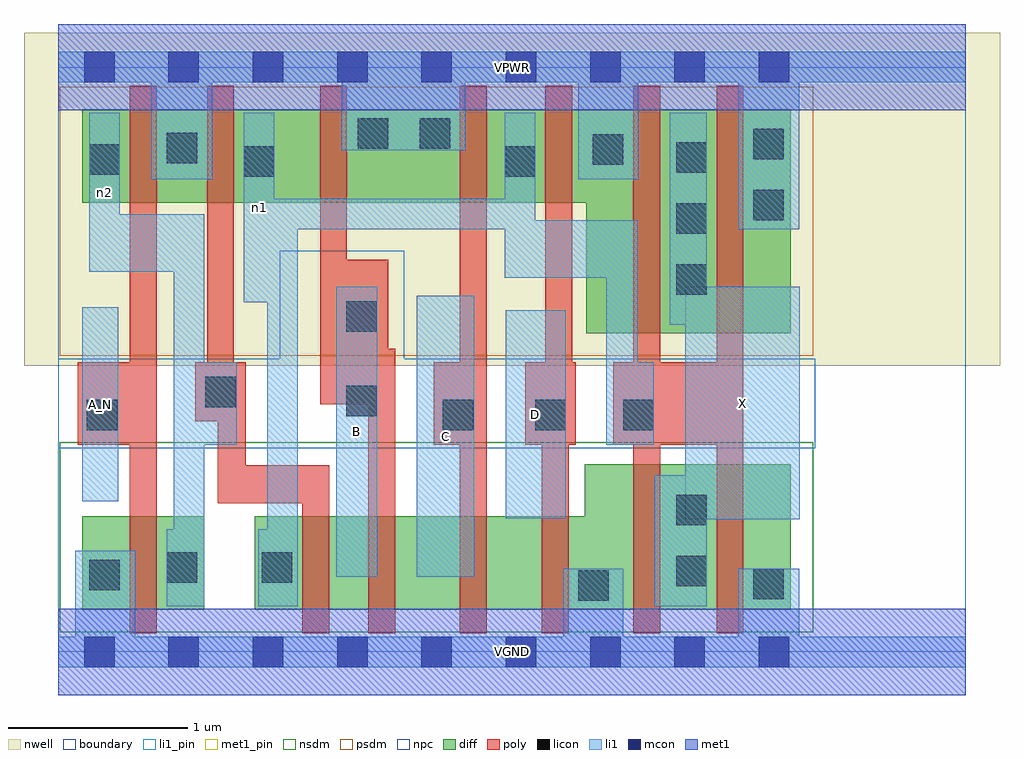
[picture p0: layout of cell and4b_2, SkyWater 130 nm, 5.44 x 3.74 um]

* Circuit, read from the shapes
.subckt and4b_2 A_N B C D VGND VPWR X n1 n2
XM1 n2 A_N VGND VSUBS sky130_fd_pr__nfet_01v8 w=0.52 l=0.15
XM2 n3 n2 n1 VSUBS sky130_fd_pr__nfet_01v8 w=0.52 l=0.15
XM3 n4 B n3 VSUBS sky130_fd_pr__nfet_01v8 w=0.52 l=0.15
XM4 n5 C n4 VSUBS sky130_fd_pr__nfet_01v8 w=0.52 l=0.15
XM5 VGND D n5 VSUBS sky130_fd_pr__nfet_01v8 w=0.52 l=0.15
XM6 X n1 VGND VSUBS sky130_fd_pr__nfet_01v8 w=0.81 l=0.15 m=2
XM7 VPWR A_N n2 n6 sky130_fd_pr__pfet_01v8 w=0.52 l=0.15
XM8 n1 n2 VPWR n6 sky130_fd_pr__pfet_01v8 w=0.52 l=0.15
XM9 VPWR B n1 n6 sky130_fd_pr__pfet_01v8 w=0.52 l=0.15
XM10 n1 C VPWR n6 sky130_fd_pr__pfet_01v8 w=0.52 l=0.15
XM11 VPWR D n1 n6 sky130_fd_pr__pfet_01v8 w=0.52 l=0.15
XM12 X n1 VPWR n6 sky130_fd_pr__pfet_01v8 w=1.25 l=0.15 m=2
.ends

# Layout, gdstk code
import gdstk
lib = gdstk.Library(unit=1e-6, precision=1e-09)
def R(c, l, rs):  # rectangles x0, y0, x1, y1
    for r in rs: c.add(gdstk.rectangle(r[:2], r[2:], *l))
def A(c, l, x, y, w, h, nx, ny, dx, dy):  # array of equal rectangles
    R(c, l, [(x+i*dx, y+j*dy, x+i*dx+w, y+j*dy+h) for i in range(nx) for j in range(ny)])
nwell = (64, 20)
diff = (65, 20)
poly = (66, 20)
licon = (66, 44)
li1_pin = (67, 16)
li1 = (67, 20)
mcon = (67, 44)
met1_pin = (68, 16)
met1 = (68, 20)
nsdm = (93, 44)
psdm = (94, 20)
npc = (95, 20)
boundary = (235, 4)

and4b_2 = lib.new_cell('and4b_2')
R(and4b_2, nwell, [(-0.19,1.595,5.25,3.45), (0,1.595,5.06,3.45)])
R(and4b_2, diff, [(0.135,0.235,0.815,0.755), (1.095,0.235,4.085,0.755), (2.935,0.235,4.085,1.045), (2.945,1.775,4.085,3.025), (0.135,2.505,4.085,3.025)])
R(and4b_2, poly, [(0.4,0.105,0.55,3.155), (1.36,0.105,1.51,1.04), (1.73,0.105,1.88,1.69), (2.24,0.105,2.39,3.155), (2.695,0.105,2.845,1.615), (3.205,0.105,3.355,3.155), (3.67,0.105,3.82,3.155), (0.89,0.83,1.51,1.04), (0.89,0.83,1.045,1.615), (0.11,1.155,0.55,1.615), (2.095,1.155,2.39,1.615), (2.605,1.155,2.885,1.615), (2.715,1.155,2.865,3.155), (3.095,1.155,3.82,1.615), (0.765,1.285,1.045,1.615), (0.83,1.285,0.98,3.155), (1.46,1.38,1.84,2.185), (1.46,1.38,1.61,3.155)])
A(and4b_2, licon, 3.445, 1.99, 0.17, 0.17, 1, 3, 0, 0.34)
R(and4b_2, licon, [(2.9,0.285,3.07,0.455), (3.875,0.295,4.045,0.465), (0.175,0.345,0.345,0.515), (3.445,0.365,3.615,0.535), (0.605,0.385,0.775,0.555), (1.135,0.385,1.305,0.555), (3.445,0.705,3.615,0.875), (0.16,1.235,0.33,1.405), (2.145,1.235,2.315,1.405), (2.66,1.235,2.83,1.405), (3.15,1.235,3.32,1.405), (1.605,1.315,1.775,1.485), (0.82,1.365,0.99,1.535), (1.605,1.785,1.775,1.955), (3.875,2.405,4.045,2.575), (1.035,2.65,1.205,2.82), (2.49,2.65,2.66,2.82), (0.175,2.66,0.345,2.83), (2.98,2.715,3.15,2.885), (0.605,2.725,0.775,2.895), (3.875,2.745,4.045,2.915), (1.67,2.805,1.84,2.975), (2.015,2.805,2.185,2.975)])
R(and4b_2, li1_pin, [(1.55,0.42,1.78,2.035), (2,0.42,2.32,1.985), (3.495,0.74,4.135,2.035), (2.495,0.745,2.83,1.905), (0.135,0.84,0.335,1.92)])
R(and4b_2, li1, [(0,-0.085,5.06,0.085), (0.095,-0.085,0.43,0.565), (2.815,-0.085,3.15,0.465), (3.79,-0.085,4.13,0.465), (0.605,0.255,0.815,0.685), (0.645,0.255,0.815,2.44), (1.115,0.255,1.335,0.685), (1.165,0.255,1.335,2.525), (3.325,0.255,3.615,0.985), (1.55,0.42,1.78,2.035), (2,0.42,2.32,1.985), (3.495,0.74,4.135,2.035), (2.495,0.745,2.83,1.905), (0.135,0.84,0.335,1.92), (0.645,1.155,0.995,1.615), (3.055,1.155,3.23,2.405), (3.055,1.155,3.32,1.615), (3.41,1.825,3.615,3.005), (1.035,1.95,1.205,3.005), (2.49,2.085,3.23,2.405), (2.49,2.085,2.66,3.005), (0.175,2.12,0.345,3.005), (0.175,2.12,0.815,2.44), (1.035,2.355,2.66,2.525), (3.79,2.355,4.13,3.345), (0.52,2.635,0.86,3.345), (2.9,2.635,3.235,3.345), (1.58,2.795,2.27,3.345), (0,3.175,5.06,3.345)])
A(and4b_2, mcon, 0.145, -0.085, 0.17, 0.17, 9, 2, 0.47, 3.26)
R(and4b_2, met1_pin, [(0,-0.24,5.06,0.24), (0,3.02,5.06,3.5)])
R(and4b_2, met1, [(0,-0.24,5.06,0.24), (0,3.02,5.06,3.5)])
R(and4b_2, nsdm, [(0.01,0.11,4.21,1.17)])
R(and4b_2, psdm, [(0.01,1.65,4.21,3.15)])
R(and4b_2, npc, [(0,1.135,4.22,1.635), (1.235,1.135,1.93,2.235)])
R(and4b_2, boundary, [(0,0,5.06,3.26)])
and4b_2.add(gdstk.Label('A_N', (0.235,1.38), layer=67, texttype=5))
and4b_2.add(gdstk.Label('B', (1.665,1.227), layer=67, texttype=5))
and4b_2.add(gdstk.Label('C', (2.16,1.202), layer=67, texttype=5))
and4b_2.add(gdstk.Label('D', (2.662,1.325), layer=67, texttype=5))
and4b_2.add(gdstk.Label('X', (3.815,1.387), layer=67, texttype=5))
and4b_2.add(gdstk.Label('n2', (0.26,2.562), layer=67, texttype=5))
and4b_2.add(gdstk.Label('n1', (1.12,2.477), layer=67, texttype=5))
and4b_2.add(gdstk.Label('VPWR', (2.53,3.26), layer=68, texttype=5))
and4b_2.add(gdstk.Label('VGND', (2.53,0), layer=68, texttype=5))
and4b_2.add(gdstk.Label('A_N', (0.235,1.38), layer=67, texttype=16))
and4b_2.add(gdstk.Label('B', (1.665,1.227), layer=67, texttype=16))
and4b_2.add(gdstk.Label('C', (2.16,1.202), layer=67, texttype=16))
and4b_2.add(gdstk.Label('D', (2.662,1.325), layer=67, texttype=16))
and4b_2.add(gdstk.Label('X', (3.815,1.387), layer=67, texttype=16))
and4b_2.add(gdstk.Label('VPWR', (2.53,3.26), layer=68, texttype=16))
and4b_2.add(gdstk.Label('VGND', (2.53,0), layer=68, texttype=16))

lib.write_gds('and4b_2.gds')
